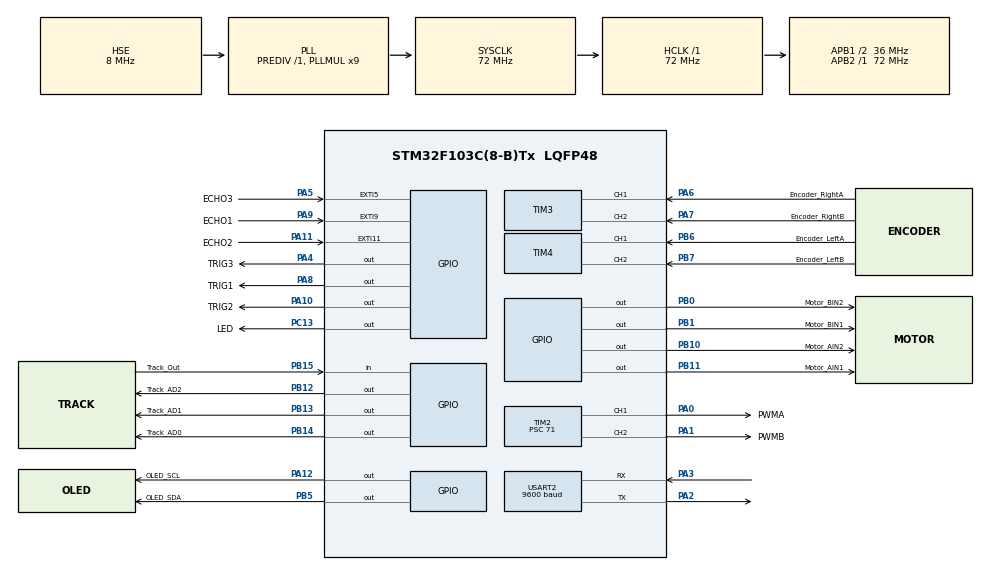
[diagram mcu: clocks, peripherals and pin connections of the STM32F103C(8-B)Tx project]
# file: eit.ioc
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Dma.Request0=USART2_RX
Dma.USART2_RX.0.Direction=DMA_PERIPH_TO_MEMORY
Dma.USART2_RX.0.Instance=DMA1_Channel6
Dma.USART2_RX.0.MemDataAlignment=DMA_MDATAALIGN_BYTE
Dma.USART2_RX.0.MemInc=DMA_MINC_ENABLE
Dma.USART2_RX.0.Mode=DMA_NORMAL
Dma.USART2_RX.0.PeriphDataAlignment=DMA_PDATAALIGN_BYTE
Dma.USART2_RX.0.PeriphInc=DMA_PINC_DISABLE
Dma.USART2_RX.0.Priority=DMA_PRIORITY_LOW
Mcu.Family=STM32F1
Mcu.Name=STM32F103C(8-B)Tx
Mcu.Package=LQFP48
NVIC.DMA1_Channel6_IRQn=true\:4\:0\:true\:false\:true\:false\:true\:true
NVIC.EXTI15_10_IRQn=true\:2\:0\:true\:false\:true\:true\:true\:true
NVIC.EXTI9_5_IRQn=true\:2\:0\:true\:false\:true\:true\:true\:true
NVIC.PriorityGroup=NVIC_PRIORITYGROUP_4
NVIC.TIM1_UP_IRQn=true\:1\:0\:true\:false\:true\:true\:true\:true
NVIC.USART2_IRQn=true\:4\:0\:true\:false\:true\:true\:true\:true
PA0-WKUP.GPIO_Label=PWMA
PA0-WKUP.Signal=S_TIM2_CH1_ETR
PA1.GPIO_Label=PWMB
PA1.Signal=S_TIM2_CH2
PA10.GPIO_Label=TRIG2
PA10.Signal=GPIO_Output
PA11.GPIO_Label=ECHO2
PA11.GPIO_ModeDefaultEXTI=GPIO_MODE_IT_RISING_FALLING
PA11.GPIO_PuPd=GPIO_NOPULL
PA11.Signal=GPXTI11
PA12.GPIO_Label=OLED_SCL
PA12.GPIO_ModeDefaultOutputPP=GPIO_MODE_OUTPUT_OD
PA12.GPIO_PuPd=GPIO_NOPULL
PA12.Signal=GPIO_Output
PA13.Mode=Serial_Wire
PA13.Signal=SYS_JTMS-SWDIO
PA14.Mode=Serial_Wire
PA14.Signal=SYS_JTCK-SWCLK
PA2.Mode=Asynchronous
PA2.Signal=USART2_TX
PA3.Mode=Asynchronous
PA3.Signal=USART2_RX
PA4.GPIO_Label=TRIG3
PA4.Signal=GPIO_Output
PA5.GPIO_Label=ECHO3
PA5.GPIO_ModeDefaultEXTI=GPIO_MODE_IT_RISING_FALLING
PA5.GPIO_PuPd=GPIO_NOPULL
PA5.Signal=GPXTI5
PA6.GPIO_Label=Encoder_RightA
PA6.GPIO_PuPd=GPIO_PULLUP
PA6.Signal=S_TIM3_CH1
PA7.GPIO_Label=Encoder_RightB
PA7.GPIO_PuPd=GPIO_PULLUP
PA7.Signal=S_TIM3_CH2
PA8.GPIO_Label=TRIG1
PA8.Signal=GPIO_Output
PA9.GPIO_Label=ECHO1
PA9.GPIO_ModeDefaultEXTI=GPIO_MODE_IT_RISING_FALLING
PA9.GPIO_PuPd=GPIO_NOPULL
PA9.Signal=GPXTI9
PB0.GPIO_Label=Motor_BIN2
PB0.Signal=GPIO_Output
PB1.GPIO_Label=Motor_BIN1
PB1.Signal=GPIO_Output
PB10.GPIO_Label=Motor_AIN2
PB10.Signal=GPIO_Output
PB11.GPIO_Label=Motor_AIN1
PB11.Signal=GPIO_Output
PB12.GPIO_Label=Track_AD2
PB12.Signal=GPIO_Output
PB13.GPIO_Label=Track_AD1
PB13.Signal=GPIO_Output
PB14.GPIO_Label=Track_AD0
PB14.Signal=GPIO_Output
PB15.GPIO_Label=Track_Out
PB15.Signal=GPIO_Input
PB5.GPIO_Label=OLED_SDA
PB5.GPIO_ModeDefaultOutputPP=GPIO_MODE_OUTPUT_OD
PB5.GPIO_PuPd=GPIO_NOPULL
PB5.Signal=GPIO_Output
PB6.GPIO_Label=Encoder_LeftA
PB6.GPIO_PuPd=GPIO_PULLUP
PB6.Signal=S_TIM4_CH1
PB7.GPIO_Label=Encoder_LeftB
PB7.GPIO_PuPd=GPIO_PULLUP
PB7.Signal=S_TIM4_CH2
PC13-TAMPER-RTC.GPIO_Label=LED
PC13-TAMPER-RTC.Signal=GPIO_Output
PD0-OSC_IN.Mode=HSE-External-Oscillator
PD0-OSC_IN.Signal=RCC_OSC_IN
PD1-OSC_OUT.Mode=HSE-External-Oscillator
PD1-OSC_OUT.Signal=RCC_OSC_OUT
ProjectManager.HeapSize=0x200
ProjectManager.StackSize=0x400
ProjectManager.TargetToolchain=CMake
RCC.AHBFreq_Value=72000000
RCC.APB1CLKDivider=RCC_HCLK_DIV2
RCC.APB1Freq_Value=36000000
RCC.APB1TimFreq_Value=72000000
RCC.APB2Freq_Value=72000000
RCC.APB2TimFreq_Value=72000000
RCC.HCLKFreq_Value=72000000
RCC.PLLMUL=RCC_PLL_MUL9
RCC.PLLSourceVirtual=RCC_PLLSOURCE_HSE
RCC.SYSCLKFreq_VALUE=72000000
RCC.SYSCLKSource=RCC_SYSCLKSOURCE_PLLCLK
RCC.USBFreq_Value=72000000
SH.S_TIM2_CH1_ETR.0=TIM2_CH1,PWM Generation1 CH1
SH.S_TIM2_CH2.0=TIM2_CH2,PWM Generation2 CH2
SH.S_TIM3_CH1.0=TIM3_CH1,Encoder_Interface
SH.S_TIM3_CH2.0=TIM3_CH2,Encoder_Interface
SH.S_TIM4_CH1.0=TIM4_CH1,Encoder_Interface
SH.S_TIM4_CH2.0=TIM4_CH2,Encoder_Interface
TIM1.AutoReloadPreload=TIM_AUTORELOAD_PRELOAD_ENABLE
TIM1.Period=99
TIM1.Prescaler=7199
TIM2.AutoReloadPreload=TIM_AUTORELOAD_PRELOAD_ENABLE
TIM2.Channel-PWM\ Generation1\ CH1=TIM_CHANNEL_1
TIM2.Channel-PWM\ Generation2\ CH2=TIM_CHANNEL_2
TIM2.Period=99
TIM2.Prescaler=71
TIM3.EncoderMode=TIM_ENCODERMODE_TI12
TIM3.IC1Filter=6
TIM3.IC1Polarity=TIM_ICPOLARITY_RISING
TIM3.IC2Filter=6
TIM3.IC2Polarity=TIM_ICPOLARITY_RISING
TIM4.EncoderMode=TIM_ENCODERMODE_TI12
TIM4.IC1Filter=6
TIM4.IC2Polarity=TIM_ICPOLARITY_RISING
USART2.BaudRate=9600
USART2.VirtualMode=VM_ASYNC
VP_TIM1_VS_ClockSourceINT.Mode=Internal
VP_TIM2_VS_ClockSourceINT.Mode=Internal
board=custom

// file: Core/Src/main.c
/* USER CODE BEGIN Header */
/**
  ******************************************************************************
  * @file           : main.c
  * @brief          : Main program body
  ******************************************************************************
  * @attention
  *
  * Copyright (c) 2026 STMicroelectronics.
  * All rights reserved.
  *
  * This software is licensed under terms that can be found in the LICENSE file
  * in the root directory of this software component.
  * If no LICENSE file comes with this software, it is provided AS-IS.
  *
  ******************************************************************************
  */
/* USER CODE END Header */
#include "main.h"
#include "dma.h"
#include "tim.h"
#include "usart.h"
#include "gpio.h"

/* USER CODE BEGIN Includes */
#include "avoidance.h"
#include "bluetooth.h"
#include "delay_us.h"
#include "encoder.h"
#include "greyscale_sensor.h"
#include "led.h"
#include "motor.h"
#include "oled_software_i2c.h"
#include "pid.h"
#include "tracking.h"
#include "ultrasonic.h"

/* USER CODE END Includes */

/* USER CODE BEGIN PTD */

typedef enum
{
  CAR_STATE_STOPPED = 0,
  CAR_STATE_RUNNING,
  CAR_STATE_FINISHED
} CarState;

/* USER CODE END PTD */

/* USER CODE BEGIN PD */

#define TRACK_BASE_SPEED 35.0f
#define PID_PERIOD_S 0.01f
#define TRACK_ALL_BLACK_BITMAP 0xFFU

/* 发车后至少要跑这么久，全黑终点判定才允许触发（防起点线/中途黑块误停） */
#define TRACK_STOP_MIN_RUN_MS 12000U

/* 发车后前 7.0s 内禁止避障，只执行循迹。 */
#define AVOIDANCE_PAUSE_END_MS 7000U

/* USER CODE END PD */

void SystemClock_Config(void);
/* USER CODE BEGIN PFP */

static void Car_RequestStart(void);
static void Car_RequestStop(void);
static uint8_t Car_CanStart(void);
static void Car_PrepareStart(void);
static uint8_t Car_AvoidancePauseActive(void);

/* USER CODE END PFP */

/* USER CODE BEGIN 0 */

static PID_Controller pos_pid;
static PID_Controller speed_left_pid;
static PID_Controller speed_right_pid;

static volatile uint8_t car_state = CAR_STATE_STOPPED;
static volatile uint8_t car_start_pending = 0U;
static volatile uint8_t car_stop_pending = 0U;
static volatile uint8_t car_endpoint_armed = 0U;
static uint32_t run_start_tick = 0U;   /* 发车时刻（仅 TIM1 中断访问） */
static volatile uint8_t avoidance_pause_active = 0U;   /* TIM1 写入，主循环读取 */
static uint8_t avoidance_pause_latch = 0U;             /* 仅 TIM1 中断访问 */

/* 仅在 TIM1 中断中访问。 */
static uint8_t line_is_lost = 1U;
static uint8_t avoidance_was_active = 0U;

volatile float left_output;
volatile float right_output;
volatile int16_t speed_left;
volatile int16_t speed_right;
volatile uint8_t bitmap;
static uint32_t last_oled_tick = 0U;

/* USER CODE END 0 */

int main(void)
{

  /* MCU Configuration--------------------------------------------------------*/

  /* Reset of all peripherals, Initializes the Flash interface and the Systick. */
  HAL_Init();

  /* Configure the system clock */
  SystemClock_Config();

  /* Initialize all configured peripherals */
  MX_GPIO_Init();
  MX_DMA_Init();
  MX_TIM2_Init();
  MX_TIM4_Init();
  MX_TIM3_Init();
  MX_USART2_UART_Init();
  MX_TIM1_Init();
  /* USER CODE BEGIN 2 */
  DWT_Init();

  Bluetooth_Init();
  Motor_Init();
  Encoder_Init();
  OLED_Init();
  Ultrasonic_Init();
  Avoidance_Init();

  PID_Init(&pos_pid, 0.05f, 0.5f, 0.0f, -40.0f, 40.0f); // ki = 0.5f
  PID_SetIntegralLimit(&pos_pid, -250.0f, 250.0f);
  PID_Init(&speed_left_pid, 3.0f, 5.0f, 0.0f, -75.0f, 75.0f); // ki = 5.0f
  PID_SetIntegralLimit(&speed_left_pid, -150.0f, 150.0f);
  PID_Init(&speed_right_pid, 3.0f, 5.0f, 0.0f, -75.0f, 75.0f); // ki = 5.0f
  PID_SetIntegralLimit(&speed_right_pid, -150.0f, 150.0f);

  HAL_TIM_Base_Start_IT(&htim1);

  /* USER CODE END 2 */

  /* Infinite loop */
  while (1)
  {

    /* USER CODE BEGIN 3 */

    /* 超声波驱动是非阻塞状态机，主循环需要尽可能频繁地调用。 */
    Ultrasonic_Process();

    BluetoothCmd bt_cmd;

    while ((bt_cmd = Bluetooth_GetCommand()) != BT_CMD_NONE)
    {
      switch (bt_cmd)
      {
      case BT_CMD_START:
        if (Car_CanStart())
        {
          Car_PrepareStart();
          Car_RequestStart();
          Bluetooth_SendString("OK START\r\n");
        }
        else
        {
          Bluetooth_SendString("OK RUNNING\r\n");
        }
        break;

      case BT_CMD_STOP:
        Car_RequestStop();
        Bluetooth_SendString("OK STOP\r\n");
        break;

      default:
        Bluetooth_SendString("ERR\r\n");
        break;
      }
    }

    Ultrasonic_Reading readings[ULTRASONIC_SENSOR_COUNT];
    Ultrasonic_GetAll(readings);

    if ((car_state == CAR_STATE_RUNNING) && (avoidance_pause_active == 0U))
    {
      Avoidance_ProcessSensors(readings);
    }

    if ((HAL_GetTick() - last_oled_tick) >= 200U)
    {
      last_oled_tick = HAL_GetTick();

      /* 电机占空比显示 */
      OLED_ShowString(0, 0, "PWML:", 8);
      OLED_ShowSignedNum(30, 0, (int32_t)left_output, 3, 8);

      OLED_ShowString(64, 0, "PWMR:", 8);
      OLED_ShowSignedNum(94, 0, (int32_t)right_output, 3, 8);

      /* 电机速度显示 */
      OLED_ShowString(0, 1, "SPL:", 8);
      OLED_ShowSignedNum(24, 1, (int32_t)speed_left, 4, 8);

      OLED_ShowString(64, 1, "SPR:", 8);
      OLED_ShowSignedNum(88, 1, (int32_t)speed_right, 4, 8);

      /* 灰度循迹显示 */
      OLED_ShowString(0, 2, "GS:", 8);
      OLED_ShowNum(12, 2, (int32_t)bitmap, 3, 8);

      /* 超声波测距显示 */
      OLED_ShowString(0, 3, "UL:", 8);
      if (readings[ULTRASONIC_LEFT].valid)
        OLED_ShowNum(18, 3, readings[ULTRASONIC_LEFT].filtered_mm, 4, 8);
      else
        OLED_ShowString(18, 3, "----", 8);
      OLED_ShowString(48, 3, "mm", 8);

      OLED_ShowString(0, 4, "UR:", 8);
      if (readings[ULTRASONIC_RIGHT].valid)
        OLED_ShowNum(18, 4, readings[ULTRASONIC_RIGHT].filtered_mm, 4, 8);
      else
        OLED_ShowString(18, 4, "----", 8);
      OLED_ShowString(48, 4, "mm", 8);
    }
  }
  /* USER CODE END 3 */
}

void SystemClock_Config(void)
{
  RCC_OscInitTypeDef RCC_OscInitStruct = {0};
  RCC_ClkInitTypeDef RCC_ClkInitStruct = {0};

  /** Initializes the RCC Oscillators according to the specified parameters
  * in the RCC_OscInitTypeDef structure.
  */
  RCC_OscInitStruct.OscillatorType = RCC_OSCILLATORTYPE_HSE;
  RCC_OscInitStruct.HSEState = RCC_HSE_ON;
  RCC_OscInitStruct.HSEPredivValue = RCC_HSE_PREDIV_DIV1;
  RCC_OscInitStruct.HSIState = RCC_HSI_ON;
  RCC_OscInitStruct.PLL.PLLState = RCC_PLL_ON;
  RCC_OscInitStruct.PLL.PLLSource = RCC_PLLSOURCE_HSE;
  RCC_OscInitStruct.PLL.PLLMUL = RCC_PLL_MUL9;
  if (HAL_RCC_OscConfig(&RCC_OscInitStruct) != HAL_OK)
  {
    Error_Handler();
  }

  /** Initializes the CPU, AHB and APB buses clocks
  */
  RCC_ClkInitStruct.ClockType = RCC_CLOCKTYPE_HCLK|RCC_CLOCKTYPE_SYSCLK
                              |RCC_CLOCKTYPE_PCLK1|RCC_CLOCKTYPE_PCLK2;
  RCC_ClkInitStruct.SYSCLKSource = RCC_SYSCLKSOURCE_PLLCLK;
  RCC_ClkInitStruct.AHBCLKDivider = RCC_SYSCLK_DIV1;
  RCC_ClkInitStruct.APB1CLKDivider = RCC_HCLK_DIV2;
  RCC_ClkInitStruct.APB2CLKDivider = RCC_HCLK_DIV1;

  if (HAL_RCC_ClockConfig(&RCC_ClkInitStruct, FLASH_LATENCY_2) != HAL_OK)
  {
    Error_Handler();
  }
}

/* USER CODE BEGIN 4 */

static void Car_ResetControllers(void)
{
  PID_Reset(&pos_pid);
  PID_Reset(&speed_left_pid);
  PID_Reset(&speed_right_pid);
  line_is_lost = 1U;
  avoidance_was_active = 0U;
}

static void Car_RequestStart(void)
{
  car_stop_pending = 0U;
  car_start_pending = 1U;
}

static void Car_RequestStop(void)
{
  car_start_pending = 0U;
  car_stop_pending = 1U;
}

static uint8_t Car_CanStart(void)
{
  uint8_t state = car_state;

  return (uint8_t)(((state == CAR_STATE_STOPPED) || (state == CAR_STATE_FINISHED)) && (car_start_pending == 0U) && (car_stop_pending == 0U));
}

static uint8_t Car_AvoidancePauseActive(void)
{
  uint32_t elapsed_ms = HAL_GetTick() - run_start_tick;

  return (uint8_t)(elapsed_ms < AVOIDANCE_PAUSE_END_MS);
}

static void Car_PrepareStart(void)
{
  Ultrasonic_Reading readings[ULTRASONIC_SENSOR_COUNT];
  uint8_t start_bitmap = Grayscale_Sensor_Read_All();

  /*
   * 发车前用最新超声波和灰度状态判断一次，避免已经进入危险距离时
   * 仍先按正常循迹加速。
   */
  bitmap = start_bitmap;
  Ultrasonic_GetAll(readings);

  Avoidance_Reset();
  Avoidance_ProcessSensors(readings);
}

static void Car_BeginRun(void)
{
  Car_ResetControllers();
  car_endpoint_armed = 0U;
  run_start_tick = HAL_GetTick();   /* 记录发车时刻，终点判定 15 秒闸用 */
  avoidance_pause_active = 1U;
  avoidance_pause_latch = 0U;
  car_state = CAR_STATE_RUNNING;
}

static void Car_StopNow(void)
{
  Car_ResetControllers();
  car_endpoint_armed = 0U;
  car_state = CAR_STATE_STOPPED;
  Avoidance_Reset();
  Motor_BrakeAll();
}

static void Car_Finish(void)
{
  Car_ResetControllers();
  car_endpoint_armed = 0U;
  car_state = CAR_STATE_FINISHED;
  Avoidance_Reset();
  Motor_BrakeAll();
}

static int16_t Motor_DutyFromFloat(float duty)
{
  if (duty > 100.0f)
  {
    return 100;
  }
  if (duty < -100.0f)
  {
    return -100;
  }

  return (int16_t)((duty >= 0.0f) ? (duty + 0.5f) : (duty - 0.5f));
}

void HAL_TIM_PeriodElapsedCallback(TIM_HandleTypeDef *htim)
{
  if (htim->Instance == TIM1)
  {
    /* 每周期都采样，停车期间也不会累积编码器计数差。 */
    speed_left = -Encoder_GetSpeed(&encoder_left);
    speed_right = Encoder_GetSpeed(&encoder_right);

    if (car_stop_pending != 0U)
    {
      car_start_pending = 0U;
      car_stop_pending = 0U;
      Car_StopNow();
      return;
    }

    if (car_start_pending != 0U)
    {
      car_start_pending = 0U;
      Car_BeginRun();
    }

    if (car_state != CAR_STATE_RUNNING)
    {
      Motor_BrakeAll();
      return;
    }

    bitmap = Grayscale_Sensor_Read_All();

    /*
     * 启动后先等待出现非全黑的一帧，再武装终点检测。
     * 这样停在终点线上发 start 不会被下一个周期立即停车。
     */
    if (bitmap != TRACK_ALL_BLACK_BITMAP)
    {
      car_endpoint_armed = 1U;
    }
    else if ((car_endpoint_armed != 0U) && ((HAL_GetTick() - run_start_tick) >= TRACK_STOP_MIN_RUN_MS))
    {
      Car_Finish();
      return;
    }

    /*
     * 发车后的前 7.0s 内每个控制周期都复位一次，取消发车前或运行中已开始的
     * 避障；7.0s 后的首个周期再清理一次，避免中断与主循环交界处残留触发请求。
     */
    avoidance_pause_active = Car_AvoidancePauseActive();
    if ((avoidance_pause_active != 0U) || (avoidance_pause_latch != 0U))
    {
      Avoidance_Reset();
    }
    avoidance_pause_latch = avoidance_pause_active;

    Avoidance_Control avoidance_control = Avoidance_UpdateControl(bitmap, (float)speed_left, (float)speed_right);
    float base_speed;
    float steer = 0.0f;

    if (avoidance_control.use_line_pid != 0U)
    {
      if (avoidance_was_active != 0U)
      {
        PID_Reset(&pos_pid);
        line_is_lost = 1U;
      }
      avoidance_was_active = 0U;
      base_speed = TRACK_BASE_SPEED;

      if (bitmap == 0U)
      {
        if (line_is_lost == 0U)
        {
          PID_Reset(&pos_pid);
        }
        line_is_lost = 1U;
      }
      else
      {
        int16_t position = Track_GetPositionFromBitmap(bitmap);

        if (line_is_lost != 0U)
        {
          PID_Reset(&pos_pid);
        }
        line_is_lost = 0U;

        /*
         * 黑线偏右时位置为正，正转向差使左轮快、右轮慢，车向右修正；
         * 黑线偏左时位置为负，负转向差使右轮快、左轮慢。
         */
        steer = PID_UpdateError(&pos_pid, (float)position, PID_PERIOD_S);
      }
    }
    else
    {
      avoidance_was_active = 1U;
      base_speed = avoidance_control.base_speed;
      steer = avoidance_control.steer;
    }

    float left_target = base_speed + steer;
    float right_target = base_speed - steer;

    left_output = PID_Update(&speed_left_pid, left_target, (float)speed_left, PID_PERIOD_S);
    right_output = PID_Update(&speed_right_pid, right_target, (float)speed_right, PID_PERIOD_S);

    Motor_SetSpeed(MOTOR_LEFT, MOTOR_START, Motor_DutyFromFloat(left_output));
    Motor_SetSpeed(MOTOR_RIGHT, MOTOR_START, Motor_DutyFromFloat(right_output));
  }
}

/* USER CODE END 4 */

void Error_Handler(void)
{
  __disable_irq();
  while (1)
  {
  }
}
